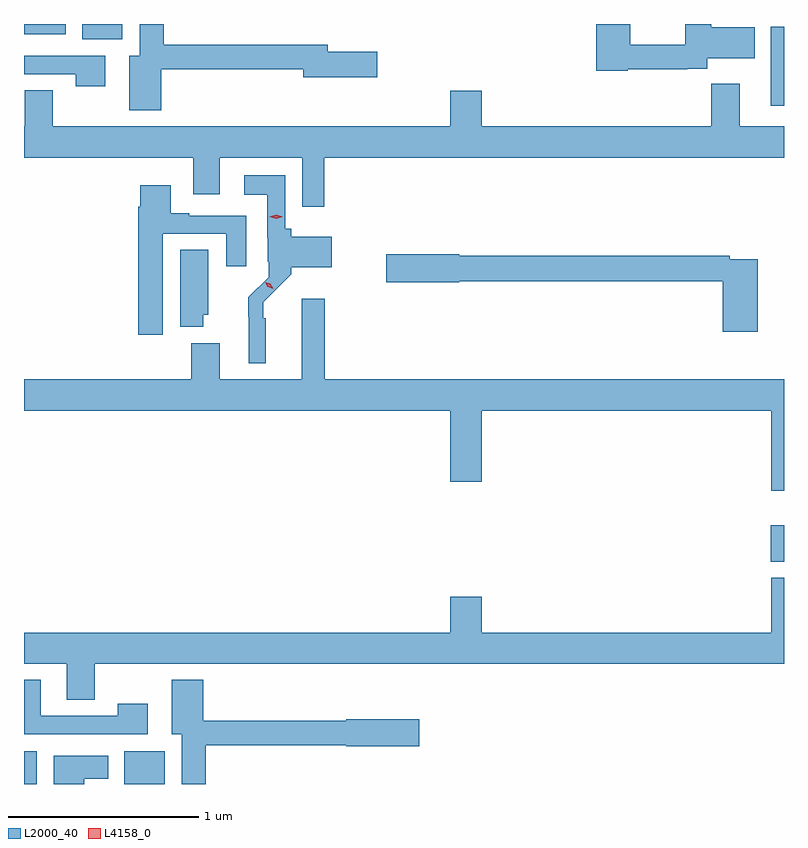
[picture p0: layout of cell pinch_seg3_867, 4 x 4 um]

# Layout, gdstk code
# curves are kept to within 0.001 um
import gdstk
lib = gdstk.Library(unit=1e-6, precision=1e-09)
def R(c, l, rs):  # rectangles x0, y0, x1, y1
    for r in rs: c.add(gdstk.rectangle(r[:2], r[2:], *l))
def P(c, l, *ps):  # polygons
    for p in ps: c.add(gdstk.Polygon(p, *l))
L2000_40 = (2000, 40)
L4158_0 = (4158, 0)

pinch_seg3_867 = lib.new_cell('pinch_seg3_867')
R(pinch_seg3_867, L2000_40, [(678.248,704.279,678.316,704.452), (678.776,704.279,678.988,704.452), (682.178,705.449,682.248,705.64), (682.178,707.85,682.248,708.265), (678.554,708.2,678.766,708.279), (678.248,708.224,678.469,708.279)])
P(pinch_seg3_867, L2000_40, [(681.426,708.042),(681.74,708.042),(681.74,708.043),(681.843,708.043),(681.843,708.098),(682.093,708.098),(682.093,708.262),(681.864,708.262),(681.864,708.279),(681.727,708.279),(681.727,708.17),(681.438,708.17),(681.438,708.279),(681.26,708.279),(681.26,708.034),(681.426,708.034)],
  [(678.97,708.042),(679.718,708.042),(679.718,707.999),(680.107,707.999),(680.107,708.134),(679.846,708.134),(679.846,708.17),(678.983,708.17),(678.983,708.279),(678.857,708.279),(678.857,708.112),(678.803,708.112),(678.803,707.826),(678.97,707.826)],
  [(678.676,708.111),(678.248,708.111),(678.248,708.015),(678.52,708.015),(678.52,707.952),(678.676,707.952)],
  [(679.829,707.576),(682.248,707.576),(682.248,707.74),(682.015,707.74),(682.015,707.965),(681.864,707.965),(681.864,707.74),(680.656,707.74),(680.656,707.929),(680.492,707.929),(680.492,707.74),(678.399,707.74),(678.399,707.93),(678.251,707.93),(678.251,707.74),(678.248,707.74),(678.248,707.576),(679.139,707.576),(679.139,707.382),(679.279,707.382),(679.279,707.576),(679.713,707.576),(679.713,707.316),(679.829,707.316)],
  [(679.521,706.731),(679.507,706.731),(679.507,706.814),(679.655,706.962),(679.655,707),(679.867,707),(679.867,707.158),(679.655,707.158),(679.655,707.202),(679.622,707.202),(679.622,707.482),(679.407,707.482),(679.407,707.381),(679.529,707.381),(679.53,707.027),(679.535,707.027),(679.535,706.946),(679.429,706.84),(679.43,706.493),(679.521,706.493)],
  [(678.979,707.175),(679.313,707.175),(679.313,707.004),(679.417,707.004),(679.417,707.271),(679.117,707.271),(679.117,707.284),(679.021,707.284),(679.021,707.431),(678.86,707.431),(678.86,707.318),(678.848,707.318),(678.848,706.644),(678.979,706.644)],
  [(679.192,706.749),(679.219,706.749),(679.219,707.09),(679.07,707.09),(679.07,706.685),(679.192,706.685)],
  [(682.109,707.04),(681.962,707.04),(681.962,707.06),(680.538,707.06),(680.538,707.066),(680.154,707.066),(680.154,706.919),(680.538,706.919),(680.538,706.924),(681.926,706.924),(681.926,706.659),(682.109,706.659)],
  [(682.248,706.408),(679.832,706.408),(679.832,706.834),(679.709,706.834),(679.709,706.408),(679.279,706.408),(679.279,706.6),(679.127,706.6),(679.127,706.408),(678.248,706.408),(678.248,706.244),(680.492,706.244),(680.492,705.87),(680.656,705.87),(680.656,706.244),(682.181,706.244),(682.181,705.822),(682.248,705.822)],
  [(678.621,704.912),(682.248,704.912),(682.248,705.364),(682.181,705.364),(682.181,705.076),(680.656,705.076),(680.656,705.265),(680.492,705.265),(680.492,705.076),(678.248,705.076),(678.248,704.912),(678.473,704.912),(678.473,704.722),(678.621,704.722)],
  [(678.898,704.701),(678.742,704.701),(678.742,704.637),(678.337,704.637),(678.337,704.827),(678.248,704.827),(678.248,704.541),(678.898,704.541)],
  [(679.205,704.482),(679.944,704.482),(679.944,704.477),(680.329,704.477),(680.329,704.619),(679.944,704.619),(679.944,704.611),(679.192,704.611),(679.192,704.827),(679.025,704.827),(679.025,704.54),(679.079,704.54),(679.079,704.279),(679.205,704.279)],
  [(678.565,704.306),(678.691,704.306),(678.691,704.428),(678.404,704.428),(678.404,704.279),(678.565,704.279)])
P(pinch_seg3_867, L4158_0, [(679.575,707.254),(679.54,707.264),(679.539,707.264),(679.54,707.264),(679.575,707.274),(679.611,707.265),(679.611,707.265),(679.611,707.264)],
  [(679.56,706.886),(679.532,706.895),(679.517,706.919),(679.517,706.92),(679.517,706.92),(679.545,706.911),(679.56,706.886),(679.56,706.886)])

lib.write_gds('pinch_seg3_867.gds')
